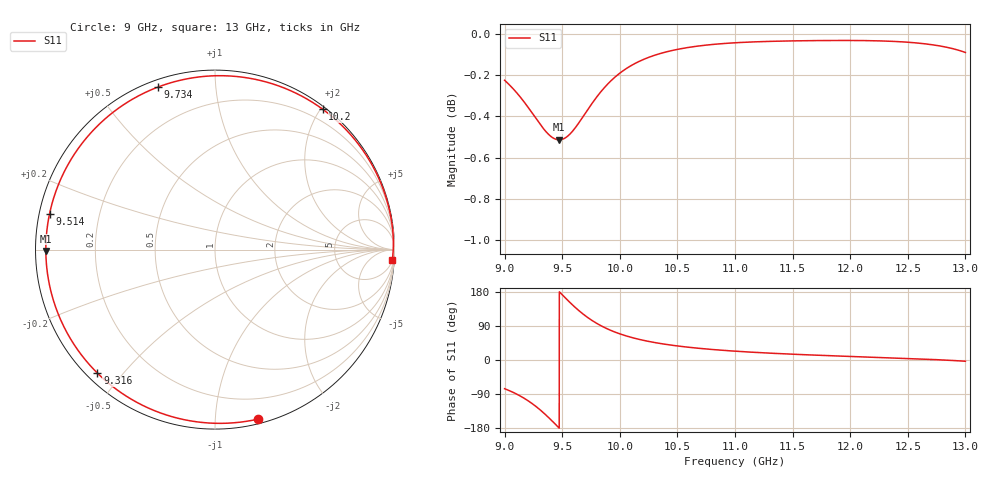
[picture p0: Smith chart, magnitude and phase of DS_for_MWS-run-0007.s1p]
! TOUCHSTONE file generated by CST DESIGN STUDIO
! Date and time: Tue Feb  4 17:12:53 2025
! Project name: C:\Work\MatlabApps\UnitCellOptimizationMatlab\CST\unitcell.cst
! Tree item: Tasks\Sweep1\SPara1\S-Parameters
! Header version: 2024
! Port assignment regex: !\s*Touchstone port\s*([0-9]+)\s*=\s*(CST MWS port|CST DES external port|CST DES block port)\s*(.+)\s* \(\"(.*)\"\)(\s*mode\s*([0-9]+))?.*
! Touchstone port assignment:
! Touchstone port 1 = CST DES external port 1 ("")
# GHz S MA R 50
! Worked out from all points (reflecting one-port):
!   4001 points, 9 GHz to 13 GHz, reference 50 ohm
!   lowest |S11| = -0.5 dB at 9.473 GHz (marker M1), VSWR 33.81, Z = 1.48 - j0.219 ohm
!   phase of S11 starts at -76 deg and turns -288 deg over the sweep
!   S11 on the Smith chart (normalised r, x): 9 GHz: 0.03, -1.28; 9.316 GHz: 0.03, -0.43; 9.514 GHz: 0.03, +0.11; 9.734 GHz: 0.03, +0.71; 10.2 GHz: 0.04, +2.03; 13 GHz: 6, -33
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9  0.9745 -75.8
9.083  0.9693 -86.7
9.182  0.9617 -103.3
9.252  0.9557 -117.9
9.316  0.9501 -133.6
9.401  0.9444 -157.5
9.438  0.943 -168.7
9.473  0.9425 -179.5
9.5  0.9428 172.1
9.514  0.9431 167.8
9.566  0.9455 152.1
9.626  0.9499 135.2
9.679  0.9547 121.8
9.734  0.9597 109.4
9.786  0.9643 99.1
9.845  0.969 89.1
9.921  0.9741 78.2
10  0.9784 69.0
10.093  0.9823 60.2
10.196  0.9856 52.5
10.335  0.9889 44.4
10.5  0.9915 37.1
10.722  0.9937 29.8
11  0.9952 23.3
11.5  0.9962 15.3
12  0.9964 9.4
12.5  0.9955 4.0
13  0.9898 -3.3
